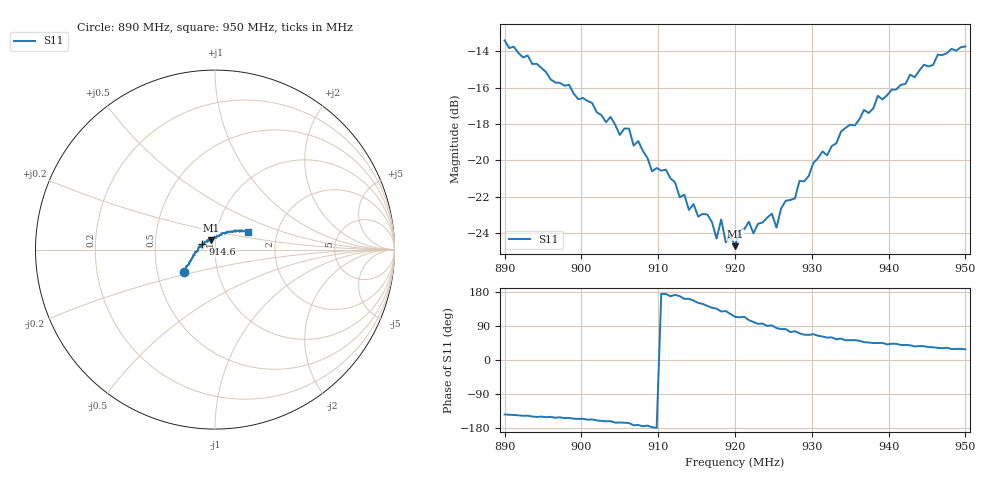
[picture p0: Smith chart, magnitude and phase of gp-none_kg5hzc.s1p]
# HZ S RI R 50
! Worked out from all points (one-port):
!   101 points, 890 MHz to 950 MHz, reference 50 ohm
!   lowest |S11| = -24.7 dB at 920 MHz (marker M1), VSWR 1.12, Z = 47.4 + j5.04 ohm
!   |S11| at or under -10 dB: start of sweep to end of sweep
!   S11 on the Smith chart (normalised r, x): 890 MHz: 0.69, -0.18; 914.6 MHz: 0.87, +0.05; 950 MHz: 1.41, +0.29
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8.9e8  -0.1722 -0.1266
8.978e8  -0.1435 -0.0718
9.038e8  -0.1248 -0.0419
9.05e8  -0.1134 -0.0305
9.062e8  -0.1188 -0.0288
9.068e8  -0.1088 -0.0148
9.074e8  -0.1117 -0.0166
9.092e8  -0.0931 -0.00449
9.11e8  -0.0937 0.00943
9.128e8  -0.0775 0.0157
9.146e8  -0.0697 0.0298
9.152e8  -0.061 0.0343
9.164e8  -0.0565 0.0429
9.176e8  -0.0435 0.0426
9.182e8  -0.0424 0.0541
9.188e8  -0.0375 0.0461
9.194e8  -0.0327 0.053
9.2e8  -0.0236 0.053
9.218e8  -0.0179 0.0653
9.224e8  -0.0111 0.062
9.248e8  -0.00173 0.0713
9.254e8  0.0066 0.0649
9.266e8  0.0113 0.0765
9.278e8  0.0189 0.0762
9.284e8  0.0293 0.0827
9.35e8  0.0765 0.0993
9.428e8  0.1341 0.1078
9.5e8  0.1814 0.097
